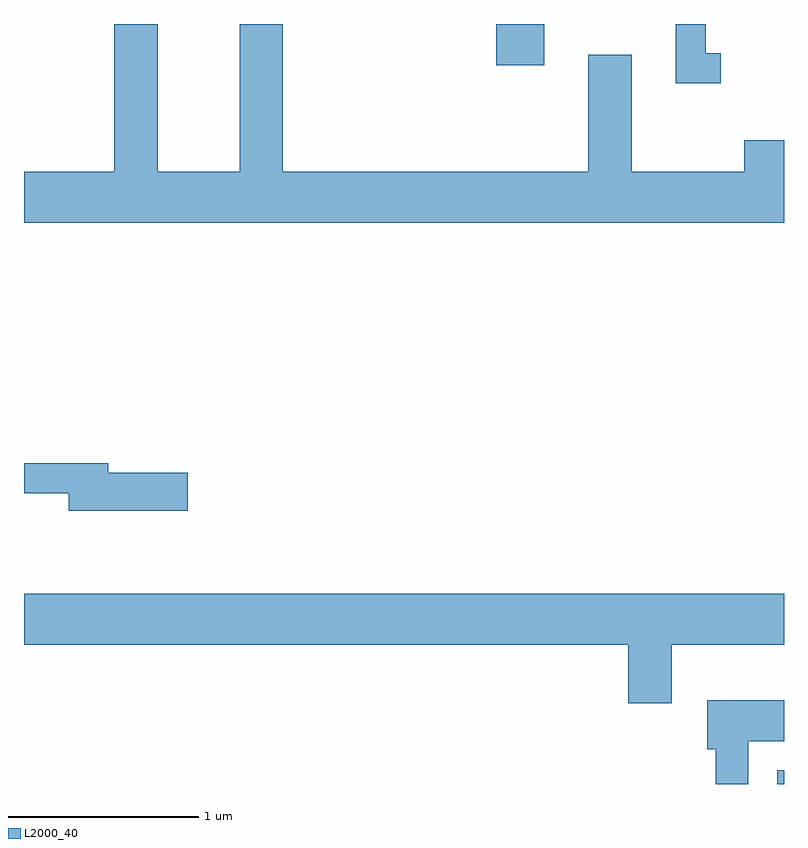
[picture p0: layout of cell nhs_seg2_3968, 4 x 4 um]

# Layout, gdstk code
import gdstk
lib = gdstk.Library(unit=1e-6, precision=1e-09)
def R(c, l, rs):  # rectangles x0, y0, x1, y1
    for r in rs: c.add(gdstk.rectangle(r[:2], r[2:], *l))
def P(c, l, *ps):  # polygons
    for p in ps: c.add(gdstk.Polygon(p, *l))
L2000_40 = (2000, 40)

nhs_seg2_3968 = lib.new_cell('nhs_seg2_3968')
R(nhs_seg2_3968, L2000_40, [(305.576,1049.802,305.611,1049.874), (304.096,1053.586,304.349,1053.802)])
P(nhs_seg2_3968, L2000_40, [(305.611,1053.189),(305.401,1053.189),(305.401,1053.024),(304.809,1053.024),(304.809,1053.639),(304.581,1053.639),(304.581,1053.024),(302.974,1053.024),(302.974,1053.802),(302.746,1053.802),(302.746,1053.024),(302.314,1053.024),(302.314,1053.802),(302.086,1053.802),(302.086,1053.024),(301.611,1053.024),(301.611,1052.756),(305.611,1052.756)],
  [(305.278,1053.649),(305.199,1053.649),(305.199,1053.802),(305.041,1053.802),(305.041,1053.491),(305.278,1053.491)],
  [(302.474,1051.439),(302.054,1051.439),(302.054,1051.489),(301.611,1051.489),(301.611,1051.331),(301.846,1051.331),(301.846,1051.241),(302.474,1051.241)],
  [(305.019,1050.536),(305.611,1050.536),(305.611,1050.804),(301.611,1050.804),(301.611,1050.536),(304.791,1050.536),(304.791,1050.226),(305.019,1050.226)],
  [(305.424,1050.026),(305.611,1050.026),(305.611,1050.244),(305.206,1050.244),(305.206,1049.986),(305.251,1049.986),(305.251,1049.802),(305.424,1049.802)])

lib.write_gds('nhs_seg2_3968.gds')
